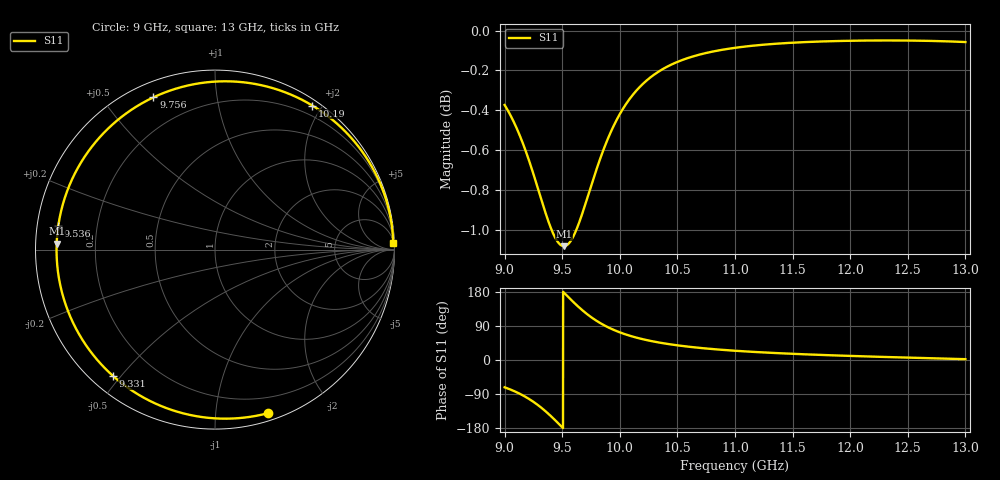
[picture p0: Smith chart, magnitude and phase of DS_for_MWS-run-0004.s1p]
! TOUCHSTONE file generated by CST DESIGN STUDIO
! Date and time: Tue Feb  4 18:30:35 2025
! Project name: C:\Work\MatlabApps\UnitCellOptimizationMatlab\CST\unitcell.cst
! Tree item: Tasks\Sweep1\SPara1\S-Parameters
! Header version: 2024
! Port assignment regex: !\s*Touchstone port\s*([0-9]+)\s*=\s*(CST MWS port|CST DES external port|CST DES block port)\s*(.+)\s* \(\"(.*)\"\)(\s*mode\s*([0-9]+))?.*
! Touchstone port assignment:
! Touchstone port 1 = CST DES external port 1 ("")
# GHz S MA R 50
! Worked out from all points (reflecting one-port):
!   4001 points, 9 GHz to 13 GHz, reference 50 ohm
!   lowest |S11| = -1.1 dB at 9.515 GHz (marker M1), VSWR 16.06, Z = 3.11 + j0.955 ohm
!   phase of S11 starts at -72 deg and turns -286 deg over the sweep
!   S11 on the Smith chart (normalised r, x): 9 GHz: 0.06, -1.37; 9.331 GHz: 0.06, -0.48; 9.536 GHz: 0.06, +0.08; 9.756 GHz: 0.06, +0.67; 10.19 GHz: 0.07, +1.88; 13 GHz: 9, +51
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9  0.9579 -72.1
9.089  0.9473 -82.9
9.192  0.9312 -99.1
9.264  0.9177 -113.3
9.331  0.9045 -129.0
9.377  0.8961 -141.1
9.424  0.8889 -154.5
9.463  0.8849 -166.2
9.5  0.883 -177.6
9.515  0.8828 177.8
9.536  0.8832 171.3
9.589  0.8869 155.2
9.65  0.8954 137.9
9.702  0.9047 124.5
9.756  0.9151 112.0
9.806  0.9244 101.9
9.862  0.934 92.0
10  0.9529 73.0
10.088  0.9615 63.9
10.185  0.9687 55.9
10.329  0.9762 46.7
10.5  0.9821 38.7
10.722  0.9867 31.1
11  0.9901 24.4
11.5  0.993 16.3
12  0.9942 10.7
12.5  0.9943 6.3
13  0.9934 2.2
